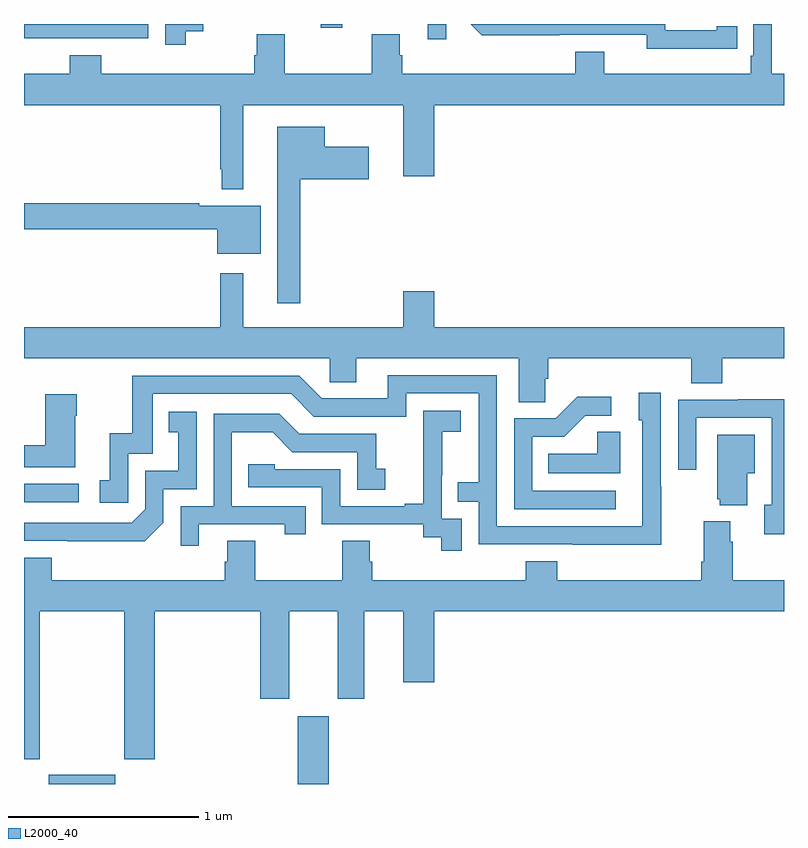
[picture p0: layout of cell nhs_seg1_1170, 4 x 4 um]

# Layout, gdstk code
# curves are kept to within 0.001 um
import gdstk
lib = gdstk.Library(unit=1e-6, precision=1e-09)
def R(c, l, rs):  # rectangles x0, y0, x1, y1
    for r in rs: c.add(gdstk.rectangle(r[:2], r[2:], *l))
def P(c, l, *ps):  # polygons
    for p in ps: c.add(gdstk.Polygon(p, *l))
L2000_40 = (2000, 40)

nhs_seg1_1170 = lib.new_cell('nhs_seg1_1170')
R(nhs_seg1_1170, L2000_40, [(175.13,508.199,175.48,508.249), (176.441,508.199,176.605,508.555), (175,509.682,175.288,509.778), (177.125,512.118,177.222,512.199), (176.563,512.178,176.674,512.199)])
P(nhs_seg1_1170, L2000_40, [(178.646,512.07),(178.754,512.07),(178.754,512.186),(178.646,512.186),(178.646,512.166),(178.374,512.166),(178.374,512.199),(177.351,512.199),(177.41,512.141),(178.278,512.142),(178.278,512.069)],
  [(175.157,512.124),(175.653,512.124),(175.653,512.199),(175,512.199),(175,512.123),(175.157,512.123)],
  [(175.852,512.161),(175.944,512.161),(175.944,512.199),(175.743,512.199),(175.743,512.091),(175.852,512.091)],
  [(176.155,511.772),(176.996,511.772),(176.996,511.398),(177.16,511.398),(177.16,511.772),(179,511.772),(179,511.936),(178.936,511.936),(178.936,512.199),(178.839,512.199),(178.839,512.032),(178.826,512.032),(178.826,511.936),(178.054,511.936),(178.054,512.053),(177.902,512.053),(177.902,511.936),(176.99,511.936),(176.99,512.034),(176.977,512.034),(176.977,512.144),(176.83,512.144),(176.83,511.936),(176.373,511.936),(176.373,512.144),(176.225,512.144),(176.225,512.034),(176.213,512.034),(176.213,511.936),(175.406,511.936),(175.406,512.035),(175.241,512.035),(175.241,511.936),(175,511.936),(175,511.772),(176.034,511.772),(176.034,511.435),(176.04,511.435),(176.04,511.328),(176.155,511.328)],
  [(176.455,511.382),(176.815,511.382),(176.815,511.552),(176.584,511.552),(176.584,511.657),(176.333,511.657),(176.333,510.729),(176.455,510.729)],
  [(176.245,511.243),(175.922,511.243),(175.922,511.256),(175,511.256),(175,511.12),(176.018,511.12),(176.018,510.989),(176.245,510.989)],
  [(177.744,510.331),(177.758,510.331),(177.758,510.44),(178.511,510.44),(178.511,510.307),(178.676,510.307),(178.676,510.44),(179,510.44),(179,510.604),(177.16,510.604),(177.16,510.793),(176.996,510.793),(176.996,510.604),(176.155,510.604),(176.155,510.886),(176.034,510.886),(176.034,510.604),(175,510.604),(175,510.44),(176.61,510.44),(176.61,510.313),(176.749,510.313),(176.749,510.44),(177.605,510.44),(177.605,510.208),(177.744,510.208)],
  [(178.353,509.765),(178.35,509.765),(178.35,510.259),(178.235,510.259),(178.235,510.114),(178.254,510.114),(178.254,509.556),(177.489,509.556),(177.489,510.351),(176.915,510.351),(176.915,510.228),(176.568,510.228),(176.448,510.348),(175.569,510.348),(175.569,510.046),(175.451,510.046),(175.451,509.799),(175.398,509.799),(175.398,509.679),(175.548,509.679),(175.548,509.937),(175.677,509.937),(175.677,510.252),(176.406,510.252),(176.526,510.132),(177.012,510.132),(177.012,510.255),(177.393,510.255),(177.393,509.786),(177.283,509.786),(177.283,509.685),(177.393,509.685),(177.393,509.46),(178.353,509.459)],
  [(175.27,510.137),(175.278,510.137),(175.278,510.25),(175.112,510.25),(175.112,509.981),(175,509.981),(175,509.867),(175.27,509.867)],
  [(178.114,509.742),(177.675,509.742),(177.675,510.027),(177.844,510.027),(177.955,510.138),(178.09,510.138),(178.09,510.236),(177.911,510.236),(177.798,510.123),(177.579,510.123),(177.579,509.646),(178.114,509.646)],
  [(179,510.224),(178.759,510.224),(178.759,510.222),(178.443,510.222),(178.443,509.853),(178.539,509.853),(178.539,510.126),(178.935,510.126),(178.935,509.67),(178.895,509.67),(178.895,509.514),(179,509.514)],
  [(177.303,509.595),(177.198,509.595),(177.198,509.825),(177.2,509.825),(177.2,510.053),(177.298,510.053),(177.298,510.163),(177.1,510.163),(177.1,509.957),(177.101,509.957),(177.101,509.674),(177.005,509.674),(177.005,509.661),(176.664,509.661),(176.664,509.856),(176.319,509.856),(176.319,509.883),(176.179,509.883),(176.179,509.76),(176.568,509.76),(176.568,509.565),(177.102,509.565),(177.102,509.497),(177.195,509.497),(177.195,509.427),(177.303,509.427)],
  [(175.734,509.574),(175.734,509.751),(175.908,509.751),(175.908,510.157),(175.762,510.157),(175.762,510.051),(175.811,510.051),(175.811,509.847),(175.638,509.847),(175.638,509.646),(175.566,509.574),(175,509.574),(175,509.478),(175.636,509.477)],
  [(175.921,509.565),(176.372,509.565),(176.372,509.514),(176.483,509.514),(176.483,509.661),(176.094,509.661),(176.094,510.05),(176.308,510.05),(176.412,509.946),(176.754,509.946),(176.754,509.748),(176.902,509.748),(176.902,509.857),(176.853,509.857),(176.853,510.042),(176.449,510.042),(176.344,510.147),(175.998,510.147),(175.998,509.661),(175.824,509.661),(175.824,509.454),(175.921,509.454)],
  [(178.138,510.053),(178.017,510.053),(178.017,509.938),(177.76,509.938),(177.76,509.834),(178.138,509.834)],
  [(178.807,509.834),(178.846,509.834),(178.846,510.037),(178.649,510.037),(178.649,509.697),(178.661,509.697),(178.661,509.666),(178.807,509.666)],
  [(175.528,508.329),(175.688,508.329),(175.688,509.108),(176.243,509.108),(176.243,508.647),(176.395,508.647),(176.395,509.108),(176.651,509.108),(176.651,508.647),(176.791,508.647),(176.791,509.108),(176.996,509.108),(176.996,508.734),(177.16,508.734),(177.16,509.108),(179,509.108),(179,509.272),(178.73,509.272),(178.73,509.474),(178.717,509.474),(178.717,509.581),(178.577,509.581),(178.577,509.368),(178.565,509.368),(178.565,509.272),(177.806,509.272),(177.806,509.371),(177.641,509.371),(177.641,509.272),(176.834,509.272),(176.834,509.37),(176.821,509.37),(176.821,509.48),(176.674,509.48),(176.674,509.272),(176.217,509.272),(176.217,509.48),(176.069,509.48),(176.069,509.37),(176.057,509.37),(176.057,509.272),(175.145,509.272),(175.145,509.389),(175,509.389),(175,508.329),(175.083,508.329),(175.083,509.108),(175.528,509.108)])

lib.write_gds('nhs_seg1_1170.gds')
